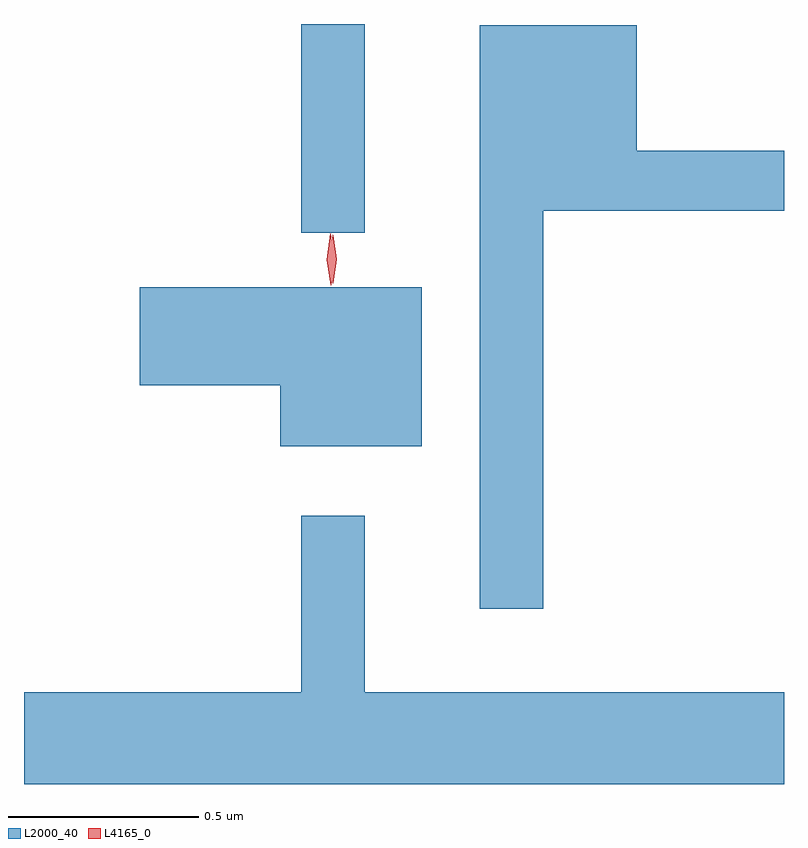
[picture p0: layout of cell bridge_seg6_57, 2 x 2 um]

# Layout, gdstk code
import gdstk
lib = gdstk.Library(unit=1e-6, precision=1e-09)
def R(c, l, rs):  # rectangles x0, y0, x1, y1
    for r in rs: c.add(gdstk.rectangle(r[:2], r[2:], *l))
def P(c, l, *ps):  # polygons
    for p in ps: c.add(gdstk.Polygon(p, *l))
L2000_40 = (2000, 40)
L4165_0 = (4165, 0)

bridge_seg6_57 = lib.new_cell('bridge_seg6_57')
R(bridge_seg6_57, L2000_40, [(1599.521,1598.133,1599.689,1598.682)])
P(bridge_seg6_57, L2000_40, [(1600.159,1598.191),(1600.792,1598.191),(1600.792,1598.349),(1600.404,1598.349),(1600.404,1598.679),(1599.991,1598.679),(1599.991,1597.143),(1600.159,1597.143)],
  [(1599.839,1597.989),(1599.096,1597.989),(1599.096,1597.731),(1599.466,1597.731),(1599.466,1597.571),(1599.839,1597.571)],
  [(1600.792,1596.924),(1599.689,1596.924),(1599.689,1597.388),(1599.521,1597.388),(1599.521,1596.924),(1598.792,1596.924),(1598.792,1596.682),(1600.792,1596.682)])
P(bridge_seg6_57, L4165_0, [(1599.604,1598),(1599.595,1598.063),(1599.604,1598.126),(1599.605,1598.127),(1599.606,1598.126),(1599.615,1598.063),(1599.606,1598),(1599.605,1598)],
  [(1599.599,1597.994),(1599.589,1598.062),(1599.598,1598.13),(1599.598,1598.13),(1599.599,1598.13),(1599.609,1598.062),(1599.6,1597.994),(1599.6,1597.994)])

lib.write_gds('bridge_seg6_57.gds')
